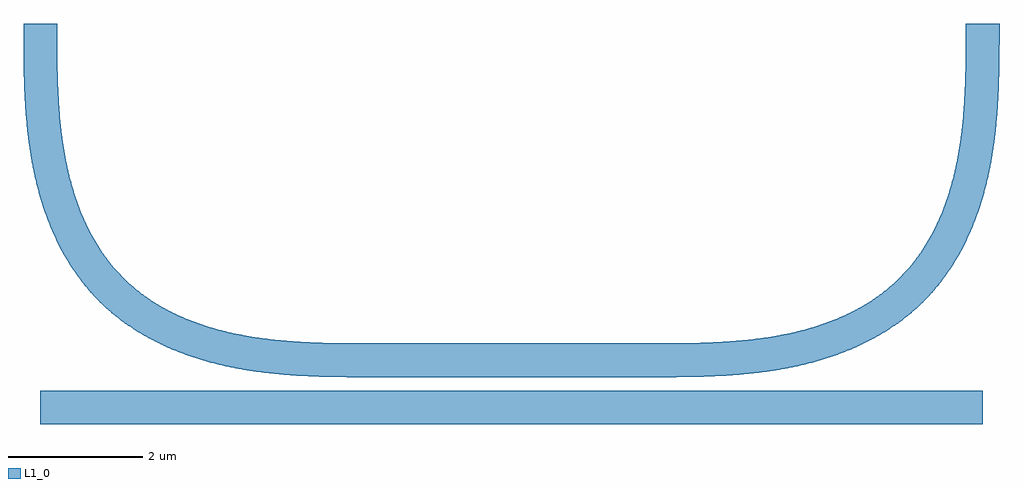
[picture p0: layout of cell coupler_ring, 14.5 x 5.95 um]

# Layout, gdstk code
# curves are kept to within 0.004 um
import gdstk
lib = gdstk.Library(unit=1e-6, precision=1e-09)
def R(c, l, rs):  # rectangles x0, y0, x1, y1
    for r in rs: c.add(gdstk.rectangle(r[:2], r[2:], *l))
def P(c, l, *ps):  # polygons
    for p in ps: c.add(gdstk.Polygon(p, *l))
L1_0 = (1, 0)

coupler_ring = lib.new_cell('coupler_ring')
R(coupler_ring, L1_0, [(-9,-0.25,-4,0.25), (-4,-0.25,0,0.25), (0,-0.25,5,0.25), (-4,0.45,0,0.95)])
P(coupler_ring, L1_0, [(-4,0.45),(-4.829,0.458),(-5.188,0.474),(-5.429,0.492),(-5.718,0.523),(-6.032,0.571),(-6.297,0.625),(-6.489,0.673),(-6.75,0.752),(-6.96,0.829),(-7.167,0.918),(-7.392,1.031),(-7.588,1.147),(-7.797,1.291),(-7.975,1.435),(-8.107,1.557),(-8.265,1.725),(-8.409,1.903),(-8.553,2.112),(-8.669,2.308),(-8.782,2.533),(-8.871,2.74),(-8.948,2.95),(-9.027,3.211),(-9.075,3.403),(-9.129,3.668),(-9.177,3.982),(-9.208,4.271),(-9.226,4.512),(-9.242,4.871),(-9.25,5.7),(-8.75,5.7),(-8.743,4.909),(-8.712,4.338),(-8.681,4.045),(-8.652,3.844),(-8.616,3.646),(-8.567,3.428),(-8.501,3.194),(-8.422,2.965),(-8.346,2.782),(-8.241,2.567),(-8.143,2.399),(-8.047,2.255),(-7.929,2.102),(-7.801,1.959),(-7.647,1.812),(-7.497,1.691),(-7.356,1.592),(-7.133,1.459),(-6.997,1.39),(-6.756,1.286),(-6.569,1.219),(-6.315,1.144),(-6.098,1.093),(-5.856,1.048),(-5.655,1.019),(-5.362,0.988),(-4.791,0.957),(-4,0.95)],
  [(0,0.45),(0.829,0.458),(1.188,0.474),(1.429,0.492),(1.718,0.523),(2.032,0.571),(2.297,0.625),(2.489,0.673),(2.75,0.752),(2.96,0.829),(3.167,0.918),(3.392,1.031),(3.588,1.147),(3.797,1.291),(3.975,1.435),(4.107,1.557),(4.265,1.725),(4.409,1.903),(4.553,2.112),(4.669,2.308),(4.782,2.533),(4.871,2.74),(4.948,2.95),(5.027,3.211),(5.075,3.403),(5.129,3.668),(5.177,3.982),(5.208,4.271),(5.226,4.512),(5.242,4.871),(5.25,5.7),(4.75,5.7),(4.743,4.909),(4.712,4.338),(4.681,4.045),(4.652,3.844),(4.616,3.646),(4.567,3.428),(4.501,3.194),(4.422,2.965),(4.346,2.782),(4.241,2.567),(4.143,2.399),(4.047,2.255),(3.929,2.102),(3.801,1.959),(3.647,1.812),(3.497,1.691),(3.356,1.592),(3.133,1.459),(2.997,1.39),(2.756,1.286),(2.569,1.219),(2.315,1.144),(2.098,1.093),(1.856,1.048),(1.655,1.019),(1.362,0.988),(0.791,0.957),(0,0.95)])

lib.write_gds('coupler_ring.gds')
